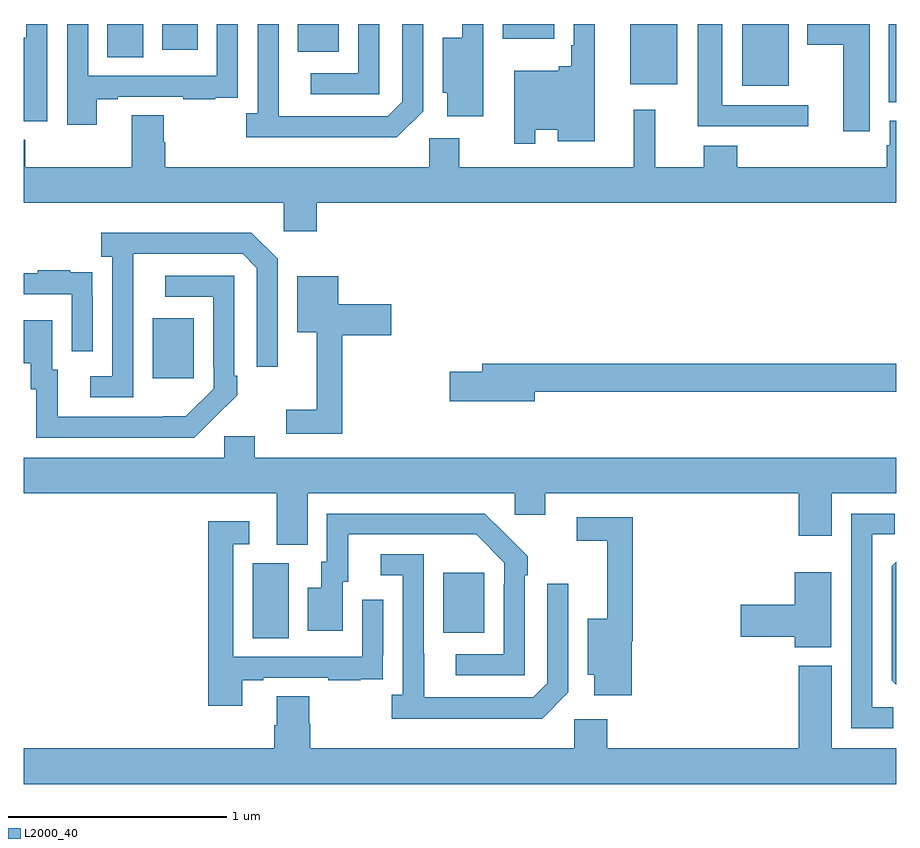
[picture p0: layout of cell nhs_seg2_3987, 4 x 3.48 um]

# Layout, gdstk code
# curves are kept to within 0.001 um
import gdstk
lib = gdstk.Library(unit=1e-6, precision=1e-09)
def R(c, l, rs):  # rectangles x0, y0, x1, y1
    for r in rs: c.add(gdstk.rectangle(r[:2], r[2:], *l))
def P(c, l, *ps):  # polygons
    for p in ps: c.add(gdstk.Polygon(p, *l))
L2000_40 = (2000, 40)

nhs_seg2_3987 = lib.new_cell('nhs_seg2_3987')
R(nhs_seg2_3987, L2000_40, [(324.05,634.984,324.214,635.328), (324.923,635.009,325.111,635.284), (323.591,636.177,323.779,636.451), (326.966,637.441,327,637.8), (326.294,637.517,326.506,637.8), (325.781,637.523,325.996,637.8), (323.384,637.648,323.548,637.8), (324.257,637.673,324.445,637.8), (323.636,637.683,323.797,637.8), (325.196,637.733,325.432,637.8)])
P(nhs_seg2_3987, L2000_40, [(323.109,637.8),(323.012,637.8),(323.012,637.738),(323,637.738),(323,637.355),(323.109,637.355)],
  [(323.335,637.455),(323.431,637.455),(323.431,637.467),(323.731,637.467),(323.731,637.455),(323.879,637.455),(323.879,637.461),(323.981,637.461),(323.981,637.57),(323.982,637.57),(323.982,637.8),(323.886,637.8),(323.886,637.563),(323.295,637.563),(323.295,637.8),(323.199,637.8),(323.199,637.338),(323.335,637.338)],
  [(326.596,637.428),(326.203,637.428),(326.203,637.8),(326.09,637.8),(326.09,637.331),(326.596,637.331)],
  [(326.878,637.8),(326.591,637.8),(326.591,637.706),(326.756,637.706),(326.756,637.308),(326.878,637.308)],
  [(324.63,637.8),(324.534,637.8),(324.534,637.575),(324.315,637.575),(324.315,637.479),(324.63,637.479)],
  [(325.344,637.316),(325.448,637.316),(325.448,637.262),(325.618,637.262),(325.618,637.8),(325.521,637.8),(325.521,637.702),(325.509,637.702),(325.509,637.606),(325.452,637.606),(325.452,637.585),(325.248,637.585),(325.248,637.251),(325.344,637.251)],
  [(325.107,637.8),(325.01,637.8),(325.01,637.738),(324.92,637.738),(324.92,637.485),(324.941,637.485),(324.941,637.376),(325.107,637.376)],
  [(324.831,637.401),(324.831,637.8),(324.735,637.8),(324.735,637.443),(324.669,637.377),(324.169,637.377),(324.168,637.8),(324.072,637.8),(324.072,637.39),(324.021,637.39),(324.021,637.28),(324.71,637.28)],
  [(327,637.356),(326.969,637.356),(326.969,637.245),(326.957,637.245),(326.957,637.144),(326.27,637.144),(326.27,637.243),(326.117,637.243),(326.117,637.144),(325.896,637.144),(325.896,637.408),(325.796,637.408),(325.796,637.144),(324.997,637.144),(324.997,637.276),(324.858,637.276),(324.858,637.144),(323.648,637.144),(323.648,637.257),(323.643,637.257),(323.643,637.382),(323.495,637.382),(323.495,637.144),(323.007,637.144),(323.007,637.27),(323,637.27),(323,636.98),(324.192,636.98),(324.192,636.849),(324.344,636.849),(324.344,636.98),(327,636.98)],
  [(323.502,636.547),(323.503,636.747),(324.003,636.747),(324.069,636.681),(324.069,636.228),(324.165,636.228),(324.165,636.723),(324.044,636.844),(323.355,636.844),(323.355,636.734),(323.406,636.734),(323.406,636.186),(323.304,636.186),(323.304,636.09),(323.502,636.09)],
  [(323.316,636.554),(323.315,636.554),(323.315,636.663),(323.213,636.663),(323.213,636.67),(323.065,636.67),(323.065,636.657),(323,636.657),(323,636.561),(323.22,636.561),(323.22,636.3),(323.316,636.3)],
  [(323.873,635.995),(323.874,635.994),(323.979,636.099),(323.979,636.187),(323.964,636.187),(323.964,636.645),(323.649,636.645),(323.649,636.549),(323.868,636.549),(323.868,636.229),(323.871,636.229),(323.871,636.129),(323.743,636.001),(323.155,636),(323.155,636.216),(323.131,636.216),(323.131,636.442),(323,636.442),(323,636.245),(323.033,636.245),(323.033,636.126),(323.058,636.126),(323.058,635.904),(323.782,635.904)],
  [(324.461,636.374),(324.685,636.374),(324.685,636.516),(324.442,636.516),(324.442,636.643),(324.254,636.643),(324.254,636.386),(324.344,636.386),(324.344,636.031),(324.204,636.031),(324.204,635.922),(324.461,635.922)],
  [(325.342,636.114),(327,636.114),(327,636.242),(325.103,636.242),(325.103,636.206),(324.954,636.206),(324.954,636.071),(325.342,636.071)],
  [(324.301,635.648),(325.251,635.648),(325.251,635.55),(325.39,635.55),(325.39,635.648),(326.552,635.648),(326.552,635.454),(326.704,635.454),(326.704,635.648),(327,635.648),(327,635.812),(324.058,635.812),(324.058,635.91),(323.919,635.91),(323.919,635.812),(323,635.812),(323,635.648),(324.161,635.648),(324.161,635.413),(324.301,635.413)],
  [(325.296,635.273),(325.311,635.273),(325.311,635.361),(325.114,635.556),(324.39,635.556),(324.39,635.334),(324.365,635.334),(324.365,635.215),(324.302,635.215),(324.302,635.019),(324.463,635.019),(324.463,635.244),(324.487,635.244),(324.487,635.46),(325.075,635.46),(325.203,635.331),(325.203,635.231),(325.2,635.231),(325.2,634.911),(324.981,634.911),(324.981,634.815),(325.296,634.815)],
  [(326.985,634.667),(326.889,634.667),(326.889,635.46),(326.992,635.46),(326.992,635.556),(326.793,635.556),(326.793,634.572),(326.985,634.572)],
  [(325.787,634.97),(325.793,634.97),(325.793,635.538),(325.536,635.538),(325.536,635.43),(325.676,635.43),(325.676,635.074),(325.586,635.074),(325.586,634.817),(325.616,634.817),(325.616,634.722),(325.787,634.722)],
  [(324.001,634.791),(324.097,634.791),(324.097,634.803),(324.397,634.803),(324.397,634.791),(324.545,634.791),(324.545,634.797),(324.647,634.797),(324.647,634.906),(324.648,634.906),(324.648,635.161),(324.552,635.161),(324.552,634.899),(323.961,634.899),(323.961,635.415),(324.034,635.415),(324.034,635.521),(323.845,635.521),(323.845,634.674),(324.001,634.674)],
  [(325.497,634.737),(325.497,635.233),(325.401,635.233),(325.401,634.779),(325.335,634.713),(324.835,634.713),(324.834,635.37),(324.636,635.37),(324.636,635.274),(324.738,635.274),(324.738,634.726),(324.687,634.726),(324.687,634.616),(325.376,634.616)],
  [(327,635.335),(326.979,635.314),(326.979,634.792),(327,634.771)],
  [(326.701,635.287),(326.534,635.287),(326.534,635.138),(326.286,635.138),(326.286,634.991),(326.534,634.991),(326.534,634.943),(326.701,634.943)],
  [(327,634.48),(326.704,634.48),(326.704,634.858),(326.552,634.858),(326.552,634.48),(325.676,634.48),(325.676,634.612),(325.524,634.612),(325.524,634.48),(324.314,634.48),(324.314,634.593),(324.309,634.593),(324.309,634.718),(324.161,634.718),(324.161,634.586),(324.149,634.586),(324.149,634.48),(323,634.48),(323,634.316),(327,634.316)])

lib.write_gds('nhs_seg2_3987.gds')
